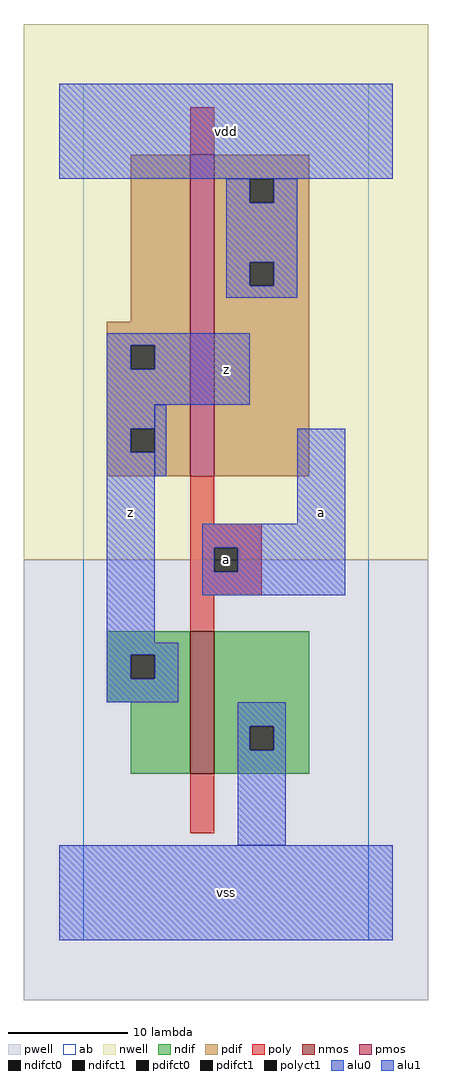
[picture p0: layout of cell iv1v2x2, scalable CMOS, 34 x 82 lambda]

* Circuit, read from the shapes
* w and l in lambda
.subckt iv1v2x2 a vdd vss z
M1 vss a z VSUBS nfet w=12 l=2
M2 vdd a z n1 pfet w=27 l=2
.ends

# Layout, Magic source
magic
tech scmos
<< ab >>
rect 0 0 24 72
<< nwell >>
rect -5 32 29 77
<< pwell >>
rect -5 -5 29 32
<< poly >>
rect 9 66 11 70
rect 9 35 11 39
rect 9 33 15 35
rect 9 31 11 33
rect 13 31 15 33
rect 9 29 15 31
rect 9 26 11 29
rect 9 9 11 14
<< ndif >>
rect 2 24 9 26
rect 2 22 4 24
rect 6 22 9 24
rect 2 20 9 22
rect 4 14 9 20
rect 11 18 19 26
rect 11 16 14 18
rect 16 16 19 18
rect 11 14 19 16
<< pdif >>
rect 4 52 9 66
rect 2 50 9 52
rect 2 48 4 50
rect 6 48 9 50
rect 2 43 9 48
rect 2 41 4 43
rect 6 41 9 43
rect 2 39 9 41
rect 11 64 19 66
rect 11 62 14 64
rect 16 62 19 64
rect 11 57 19 62
rect 11 55 14 57
rect 16 55 19 57
rect 11 39 19 55
<< alu1 >>
rect -2 64 26 72
rect 2 50 14 51
rect 2 48 4 50
rect 6 48 14 50
rect 2 45 14 48
rect 2 43 6 45
rect 2 41 4 43
rect 2 25 6 41
rect 18 35 22 43
rect 10 33 22 35
rect 10 31 11 33
rect 13 31 22 33
rect 10 29 22 31
rect 2 24 8 25
rect 2 22 4 24
rect 6 22 8 24
rect 2 20 8 22
rect -2 0 26 8
<< nmos >>
rect 9 14 11 26
<< pmos >>
rect 9 39 11 66
<< polyct1 >>
rect 11 31 13 33
<< ndifct0 >>
rect 14 16 16 18
<< ndifct1 >>
rect 4 22 6 24
<< pdifct0 >>
rect 14 62 16 64
rect 14 55 16 57
<< pdifct1 >>
rect 4 48 6 50
rect 4 41 6 43
<< alu0 >>
rect 12 62 14 64
rect 16 62 18 64
rect 12 57 18 62
rect 12 55 14 57
rect 16 55 18 57
rect 12 54 18 55
rect 6 39 7 45
rect 13 18 17 20
rect 13 16 14 18
rect 16 16 17 18
rect 13 8 17 16
<< labels >>
rlabel alu1 4 36 4 36 6 z
rlabel alu1 12 4 12 4 6 vss
rlabel polyct1 12 32 12 32 6 a
rlabel alu1 12 48 12 48 6 z
rlabel alu1 12 68 12 68 6 vdd
rlabel alu1 20 36 20 36 6 a
<< end >>
